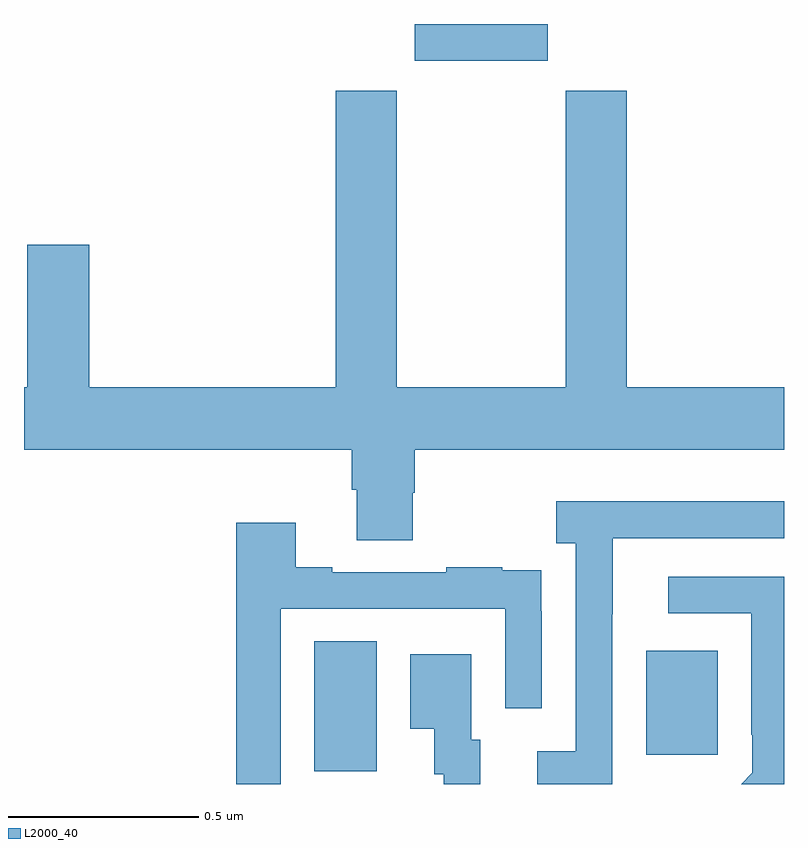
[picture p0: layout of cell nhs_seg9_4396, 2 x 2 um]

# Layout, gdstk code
import gdstk
lib = gdstk.Library(unit=1e-6, precision=1e-09)
def R(c, l, rs):  # rectangles x0, y0, x1, y1
    for r in rs: c.add(gdstk.rectangle(r[:2], r[2:], *l))
def P(c, l, *ps):  # polygons
    for p in ps: c.add(gdstk.Polygon(p, *l))
L2000_40 = (2000, 40)

nhs_seg9_4396 = lib.new_cell('nhs_seg9_4396')
R(nhs_seg9_4396, L2000_40, [(165.764,1235.533,165.928,1235.876), (166.637,1235.577,166.825,1235.851), (166.028,1237.403,166.378,1237.5)])
P(nhs_seg9_4396, L2000_40, [(166.023,1236.267),(166.028,1236.267),(166.028,1236.38),(167,1236.38),(167,1236.544),(166.586,1236.544),(166.586,1237.324),(166.426,1237.324),(166.426,1236.544),(165.981,1236.544),(165.981,1237.324),(165.821,1237.324),(165.821,1236.544),(165.172,1236.544),(165.172,1236.919),(165.008,1236.919),(165.008,1236.544),(165,1236.544),(165,1236.38),(165.863,1236.38),(165.863,1236.274),(165.875,1236.274),(165.875,1236.142),(166.023,1236.142)],
  [(166.548,1235.947),(166.549,1235.947),(166.549,1236.147),(167,1236.147),(167,1236.244),(166.401,1236.244),(166.401,1236.134),(166.452,1236.134),(166.452,1235.586),(166.35,1235.586),(166.35,1235.5),(166.548,1235.5)],
  [(165.675,1235.961),(166.266,1235.961),(166.266,1235.7),(166.362,1235.7),(166.362,1235.954),(166.361,1235.954),(166.361,1236.063),(166.259,1236.063),(166.259,1236.07),(166.111,1236.07),(166.111,1236.057),(165.811,1236.057),(165.811,1236.07),(165.715,1236.07),(165.715,1236.187),(165.559,1236.187),(165.559,1235.5),(165.675,1235.5)],
  [(167,1236.045),(166.695,1236.045),(166.695,1235.949),(166.914,1235.949),(166.914,1235.629),(166.917,1235.629),(166.917,1235.529),(166.888,1235.5),(167,1235.5)],
  [(166.201,1235.616),(166.177,1235.616),(166.177,1235.842),(166.016,1235.842),(166.016,1235.645),(166.079,1235.645),(166.079,1235.526),(166.104,1235.526),(166.104,1235.5),(166.201,1235.5)])

lib.write_gds('nhs_seg9_4396.gds')
